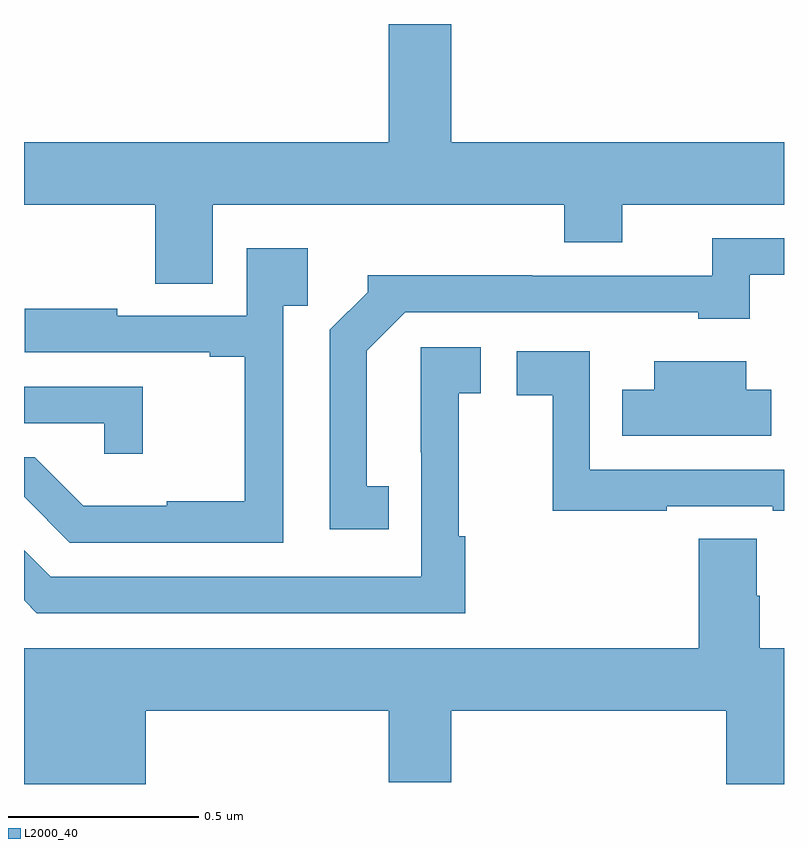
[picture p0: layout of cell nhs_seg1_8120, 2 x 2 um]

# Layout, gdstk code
import gdstk
lib = gdstk.Library(unit=1e-6, precision=1e-09)
def P(c, l, *ps):  # polygons
    for p in ps: c.add(gdstk.Polygon(p, *l))
L2000_40 = (2000, 40)

nhs_seg1_8120 = lib.new_cell('nhs_seg1_8120')
P(nhs_seg1_8120, L2000_40, [(212.497,559.724),(213.422,559.724),(213.422,559.625),(213.574,559.625),(213.574,559.724),(214,559.724),(214,559.888),(213.124,559.888),(213.124,560.199),(212.96,560.199),(212.96,559.888),(212,559.888),(212,559.724),(212.345,559.724),(212.345,559.516),(212.497,559.516)],
  [(212.96,558.983),(212.902,558.983),(212.902,559.339),(213.003,559.44),(213.774,559.44),(213.774,559.424),(213.91,559.424),(213.91,559.539),(214,559.539),(214,559.635),(213.811,559.635),(213.811,559.536),(213.338,559.536),(213.338,559.538),(212.904,559.538),(212.904,559.493),(212.805,559.394),(212.805,558.87),(212.96,558.87)],
  [(212.682,559.457),(212.747,559.457),(212.747,559.609),(212.586,559.609),(212.586,559.431),(212.245,559.431),(212.245,559.45),(212.002,559.45),(212.002,559.335),(212.489,559.335),(212.489,559.323),(212.581,559.323),(212.581,558.943),(212.375,558.943),(212.375,558.931),(212.156,558.931),(212.028,559.059),(212,559.059),(212,558.955),(212.121,558.834),(212.682,558.834)],
  [(213.161,558.851),(213.144,558.851),(213.144,559.227),(213.202,559.227),(213.202,559.348),(213.044,559.348),(213.044,559.072),(213.045,559.072),(213.045,558.744),(212.07,558.744),(212,558.814),(212,558.682),(212.034,558.648),(213.161,558.648)],
  [(213.692,558.93),(213.971,558.93),(213.971,558.918),(214,558.918),(214,559.026),(213.489,559.026),(213.489,559.338),(213.297,559.338),(213.297,559.222),(213.391,559.222),(213.391,558.918),(213.692,558.918)],
  [(213.967,559.237),(213.901,559.237),(213.901,559.312),(213.659,559.312),(213.659,559.237),(213.574,559.237),(213.574,559.115),(213.967,559.115)],
  [(212.312,559.245),(212,559.245),(212,559.149),(212.211,559.149),(212.211,559.068),(212.312,559.068)],
  [(212.32,558.392),(212.96,558.392),(212.96,558.204),(213.124,558.204),(213.124,558.392),(213.848,558.392),(213.848,558.199),(214,558.199),(214,558.556),(213.936,558.556),(213.936,558.695),(213.928,558.695),(213.928,558.845),(213.776,558.845),(213.776,558.556),(212,558.556),(212,558.199),(212.32,558.199)])

lib.write_gds('nhs_seg1_8120.gds')
